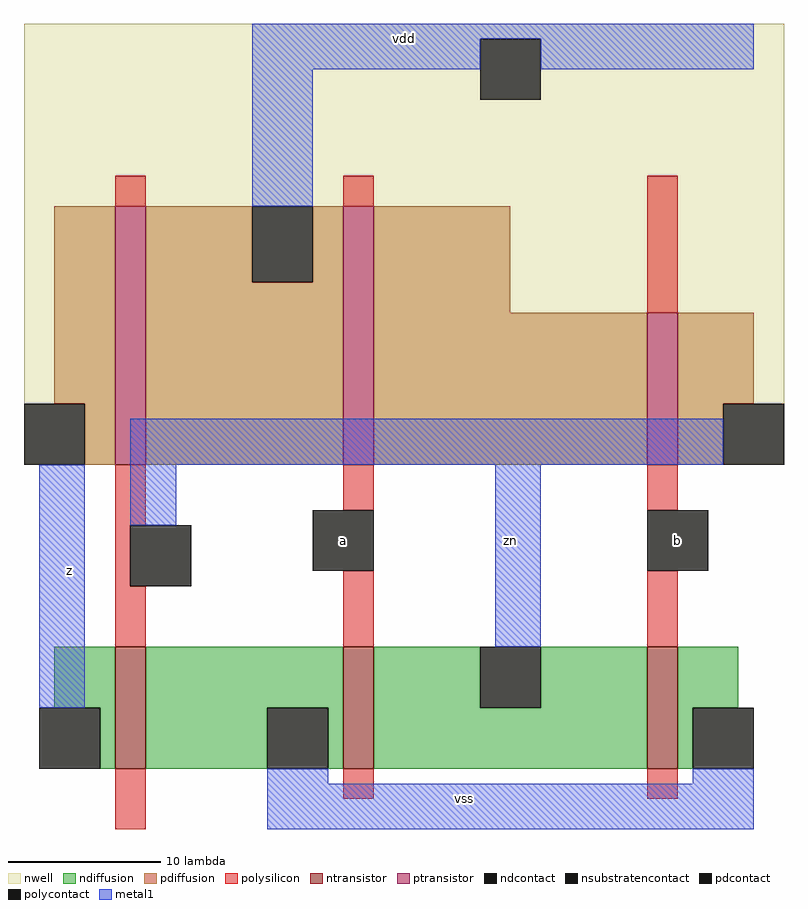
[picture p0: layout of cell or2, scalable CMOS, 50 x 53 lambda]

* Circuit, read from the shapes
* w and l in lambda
.subckt or2 a b vdd vss z zn
M1 vss zn z VSUBS nfet w=8 l=2
M2 zn a vss VSUBS nfet w=8 l=2
M3 vss b zn VSUBS nfet w=8 l=2
M4 vdd zn z vdd pfet w=17 l=2
M5 n1 a vdd vdd pfet w=17 l=2
M6 zn b n1 vdd pfet w=10 l=2
.ends

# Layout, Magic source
magic
tech scmos
<< nwell >>
rect 0 24 50 53
<< polysilicon >>
rect 6 41 8 43
rect 21 41 23 43
rect 41 34 43 43
rect 6 20 8 24
rect 21 21 23 24
rect 6 16 7 20
rect 6 12 8 16
rect 21 12 23 17
rect 41 21 43 24
rect 41 12 43 17
rect 6 0 8 4
rect 21 2 23 4
rect 41 2 43 4
<< ndiffusion >>
rect 2 8 6 12
rect 5 4 6 8
rect 8 8 21 12
rect 8 4 16 8
rect 20 4 21 8
rect 23 8 30 12
rect 34 8 41 12
rect 23 4 41 8
rect 43 8 47 12
rect 43 4 44 8
<< pdiffusion >>
rect 2 28 6 41
rect 4 24 6 28
rect 8 36 15 41
rect 19 36 21 41
rect 8 24 21 36
rect 23 34 32 41
rect 23 24 41 34
rect 43 28 48 34
rect 43 24 46 28
<< metal1 >>
rect 15 52 48 53
rect 15 50 30 52
rect 15 41 19 50
rect 34 50 48 52
rect 1 8 4 24
rect 7 24 46 27
rect 7 20 10 24
rect 31 12 34 24
rect 16 3 20 4
rect 44 3 48 4
rect 16 0 48 3
<< ntransistor >>
rect 6 4 8 12
rect 21 4 23 12
rect 41 4 43 12
<< ptransistor >>
rect 6 24 8 41
rect 21 24 23 41
rect 41 24 43 34
<< polycontact >>
rect 7 16 11 20
rect 19 17 23 21
rect 41 17 45 21
<< ndcontact >>
rect 1 4 5 8
rect 16 4 20 8
rect 30 8 34 12
rect 44 4 48 8
<< pdcontact >>
rect 0 24 4 28
rect 15 36 19 41
rect 46 24 50 28
<< nsubstratencontact >>
rect 30 48 34 52
<< labels >>
rlabel metal1 29 2 29 2 1 vss
rlabel metal1 25 52 25 52 5 vdd
rlabel polycontact 21 19 21 19 1 a
rlabel polycontact 43 19 43 19 1 b
rlabel metal1 32 19 32 19 1 zn
rlabel metal1 3 17 3 17 3 z
<< end >>
